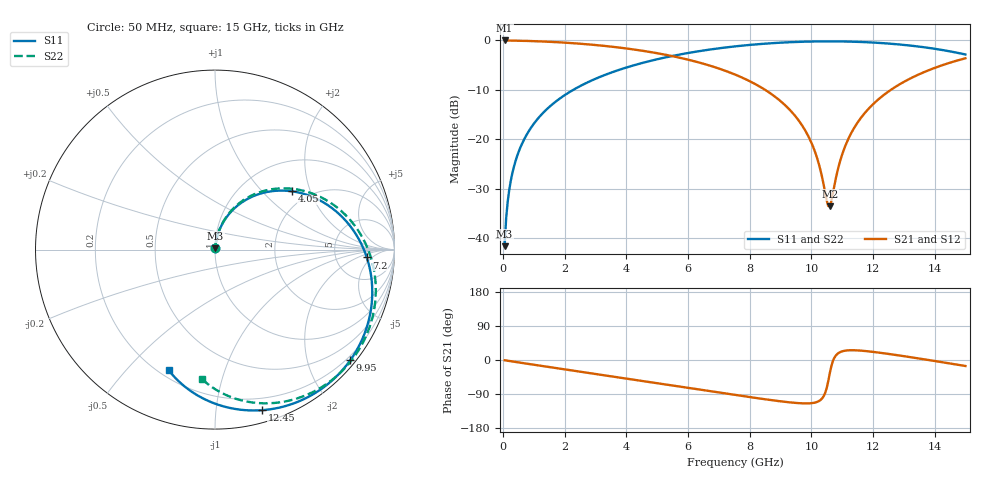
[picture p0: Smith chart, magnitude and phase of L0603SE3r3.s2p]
!	AVX	Thin	Film	Operation	Date:	2004
!	Description:	"Series,"	Thin	"Film,"	"LGA,"	RF	Inductors
!	Part	Number:	L06033r3nH
!	50	MHz	-	15	GHz
!	Serial	Measurements
#	mhz	S	db	R	50
!	S11	S11	S21	S21	S12	S12	S22	S22
!	dB	Phase	dB	Phase	dB	Phase	dB	Phase
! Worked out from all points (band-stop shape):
!   300 points, 50 MHz to 15 GHz, reference 50 ohm
!   highest |S21| = -0.01 dB at 50 MHz (marker M1); lowest = -33.6 dB at 10.6 GHz (marker M2)
!   |S21| within 3 dB of the highest: start of sweep to 5.354 GHz
!   lowest |S11| = -41.7 dB at 50 MHz (marker M3), VSWR 1.02, Z = 50.1 + j0.819 ohm
!   |S11| at or under -10 dB: start of sweep to 2.281 GHz
!   |S22| runs from -41.7 to -0.2 dB; largest |S21 - S12| = 0
!   S11 on the Smith chart (normalised r, x): 50 MHz: 1.00, +0.02; 4.05 GHz: 1.64, +1.50; 7.2 GHz: 11, -3; 9.95 GHz: 0.12, -2.80; 12.45 GHz: 0.10, -1.33; 15 GHz: 0.24, -0.66
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50  -41.68 82.8  -0.01 -0.7  -0.01 -0.7  -41.68 82.8
100  -36.02 83.4  -0.01 -1.3  -0.01 -1.3  -36.02 83.4
150  -32.68 83.4  -0.02 -2.0  -0.02 -2.0  -32.68 83.4
250  -28.44 82.7  -0.03 -3.2  -0.03 -3.2  -28.44 82.8
650  -20.47 78.6  -0.08 -8.2  -0.08 -8.2  -20.47 78.9
1400  -14.05 69.8  -0.25 -17.4  -0.25 -17.4  -14.05 70.5
2550  -9.09 55.8  -0.69 -31.5  -0.69 -31.5  -9.09 57.1
4050  -5.40 37.2  -1.67 -49.8  -1.67 -49.8  -5.40 39.3
5050  -3.75 24.6  -2.65 -62.0  -2.65 -62.0  -3.74 27.3
7200  -1.44 -2.9  -6.13 -88.3  -6.13 -88.3  -1.44 1.0
7550  -1.19 -7.5  -6.98 -92.6  -6.98 -92.6  -1.19 -3.3
9050  -0.44 -27.3  -12.55 -109.5  -12.55 -109.5  -0.43 -21.9
9950  -0.23 -39.3  -19.99 -114.3  -19.99 -114.3  -0.22 -33.2
10050  -0.22 -40.6  -21.41 -113.5  -21.41 -113.5  -0.21 -34.4
10600  -0.19 -48.1  -33.61 -35.2  -33.61 -35.2  -0.18 -41.3
10950  -0.21 -52.9  -24.14 21.3  -24.14 21.3  -0.19 -45.7
11250  -0.24 -57.0  -19.33 25.7  -19.33 25.7  -0.23 -49.5
11750  -0.35 -63.9  -14.60 23.7  -14.60 23.7  -0.33 -55.7
12450  -0.61 -73.7  -10.59 16.7  -10.59 16.7  -0.59 -64.5
12550  -0.66 -75.1  -10.15 15.6  -10.15 15.6  -0.63 -65.7
13750  -1.46 -92.3  -6.19 0.7  -6.19 0.7  -1.42 -80.6
15000  -2.85 -111.0  -3.62 -15.8  -3.62 -15.8  -2.78 -95.6
